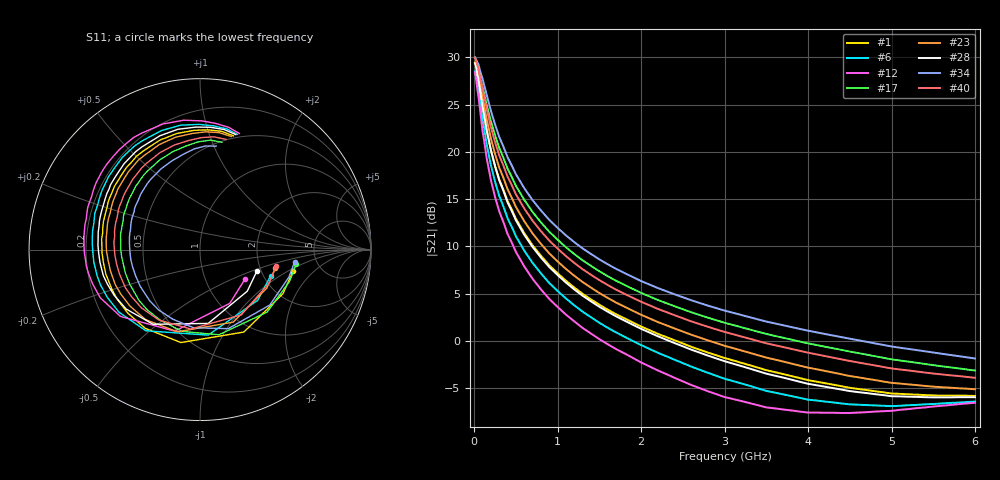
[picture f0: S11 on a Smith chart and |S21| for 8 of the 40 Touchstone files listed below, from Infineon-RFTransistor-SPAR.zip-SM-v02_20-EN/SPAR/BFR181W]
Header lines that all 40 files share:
! Infineon Technologies  Discrete & RF Semiconductors
! BFR181W
! Common Emitter S-Parameters:  Jan 2017
# GHz  S  MA  R  50
!  f  S11  S21  S12  S22
! GHz  MAG  ANG  MAG  ANG  MAG  ANG  MAG  ANG
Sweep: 10 MHz to 6 GHz
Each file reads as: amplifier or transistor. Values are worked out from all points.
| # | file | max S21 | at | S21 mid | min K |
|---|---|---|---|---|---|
| 1 | BFR181W_VCE_1.0V_IC_16mA.s2p | 28.3 dB | 10 MHz | 0.7 dB at 2.2 GHz | 0.42 |
| 2 | BFR181W_VCE_1.0V_IC_17mA.s2p | 28.4 dB | 10 MHz | 0.3 dB at 2.2 GHz | 0.42 |
| 3 | BFR181W_VCE_1.0V_IC_18mA.s2p | 28.5 dB | 10 MHz | -0.1 dB at 2.2 GHz | 0.45 |
| 4 | BFR181W_VCE_1.0V_IC_19mA.s2p | 28.5 dB | 10 MHz | -0.5 dB at 2.2 GHz | 0.48 |
| 5 | BFR181W_VCE_1.0V_IC_20mA.s2p | 28.6 dB | 10 MHz | -0.9 dB at 2.2 GHz | 0.51 |
| 6 | BFR181W_VCE_1.0V_IC_21mA.s2p | 28.5 dB | 10 MHz | -1.3 dB at 2.2 GHz | 0.51 |
| 7 | BFR181W_VCE_1.0V_IC_22mA.s2p | 28.5 dB | 10 MHz | -1.6 dB at 2.2 GHz | 0.56 |
| 8 | BFR181W_VCE_1.0V_IC_23mA.s2p | 28.5 dB | 10 MHz | -1.9 dB at 2.2 GHz | 0.55 |
| 9 | BFR181W_VCE_1.0V_IC_24mA.s2p | 28.5 dB | 10 MHz | -2.3 dB at 2.2 GHz | 0.58 |
| 10 | BFR181W_VCE_1.0V_IC_25mA.s2p | 28.5 dB | 10 MHz | -2.6 dB at 2.2 GHz | 0.60 |
| 11 | BFR181W_VCE_1.0V_IC_26mA.s2p | 28.5 dB | 10 MHz | -2.9 dB at 2.2 GHz | 0.60 |
| 12 | BFR181W_VCE_1.0V_IC_27mA.s2p | 28.4 dB | 10 MHz | -3.1 dB at 2.2 GHz | 0.64 |
| 13 | BFR181W_VCE_1.0V_IC_28mA.s2p | 28.4 dB | 10 MHz | -3.4 dB at 2.2 GHz | 0.66 |
| 14 | BFR181W_VCE_1.0V_IC_29mA.s2p | 28.3 dB | 10 MHz | -3.7 dB at 2.2 GHz | 0.66 |
| 15 | BFR181W_VCE_1.0V_IC_30mA.s2p | 28.3 dB | 10 MHz | -4.0 dB at 2.2 GHz | 0.69 |
| 16 | BFR181W_VCE_2.0V_IC_16mA.s2p | 29.3 dB | 10 MHz | 4.8 dB at 2.2 GHz | 0.29 |
| 17 | BFR181W_VCE_2.0V_IC_17mA.s2p | 29.4 dB | 10 MHz | 4.3 dB at 2.2 GHz | 0.32 |
| 18 | BFR181W_VCE_2.0V_IC_18mA.s2p | 29.5 dB | 10 MHz | 3.9 dB at 2.2 GHz | 0.34 |
| 19 | BFR181W_VCE_2.0V_IC_19mA.s2p | 29.5 dB | 10 MHz | 3.5 dB at 2.2 GHz | 0.37 |
| 20 | BFR181W_VCE_2.0V_IC_20mA.s2p | 29.5 dB | 10 MHz | 3.1 dB at 2.2 GHz | 0.40 |
| 21 | BFR181W_VCE_2.0V_IC_21mA.s2p | 29.5 dB | 10 MHz | 2.7 dB at 2.2 GHz | 0.43 |
| 22 | BFR181W_VCE_2.0V_IC_22mA.s2p | 29.5 dB | 10 MHz | 2.3 dB at 2.2 GHz | 0.43 |
| 23 | BFR181W_VCE_2.0V_IC_23mA.s2p | 29.5 dB | 10 MHz | 2.0 dB at 2.2 GHz | 0.47 |
| 24 | BFR181W_VCE_2.0V_IC_24mA.s2p | 29.4 dB | 10 MHz | 1.7 dB at 2.2 GHz | 0.48 |
| 25 | BFR181W_VCE_2.0V_IC_25mA.s2p | 29.4 dB | 10 MHz | 1.3 dB at 2.2 GHz | 0.51 |
| 26 | BFR181W_VCE_2.0V_IC_26mA.s2p | 29.4 dB | 10 MHz | 1.0 dB at 2.2 GHz | 0.53 |
| 27 | BFR181W_VCE_2.0V_IC_27mA.s2p | 29.4 dB | 10 MHz | 0.7 dB at 2.2 GHz | 0.53 |
| 28 | BFR181W_VCE_2.0V_IC_28mA.s2p | 29.4 dB | 10 MHz | 0.5 dB at 2.2 GHz | 0.59 |
| 29 | BFR181W_VCE_2.0V_IC_29mA.s2p | 29.3 dB | 10 MHz | 0.2 dB at 2.2 GHz | 0.60 |
| 30 | BFR181W_VCE_2.0V_IC_30mA.s2p | 29.3 dB | 10 MHz | -0.1 dB at 2.2 GHz | 0.65 |
| 31 | BFR181W_VCE_3.0V_IC_16mA.s2p | 29.8 dB | 10 MHz | 6.8 dB at 2.2 GHz | 0.11 |
| 32 | BFR181W_VCE_3.0V_IC_17mA.s2p | 29.9 dB | 10 MHz | 6.4 dB at 2.2 GHz | 0.20 |
| 33 | BFR181W_VCE_3.0V_IC_18mA.s2p | 30.0 dB | 10 MHz | 6.0 dB at 2.2 GHz | 0.24 |
| 34 | BFR181W_VCE_3.0V_IC_19mA.s2p | 30.0 dB | 10 MHz | 5.6 dB at 2.2 GHz | 0.29 |
| 35 | BFR181W_VCE_3.0V_IC_20mA.s2p | 30.0 dB | 10 MHz | 5.2 dB at 2.2 GHz | 0.33 |
| 36 | BFR181W_VCE_3.0V_IC_21mA.s2p | 30.0 dB | 10 MHz | 4.8 dB at 2.2 GHz | 0.34 |
| 37 | BFR181W_VCE_3.0V_IC_22mA.s2p | 30.0 dB | 10 MHz | 4.4 dB at 2.2 GHz | 0.34 |
| 38 | BFR181W_VCE_3.0V_IC_23mA.s2p | 30.0 dB | 10 MHz | 4.1 dB at 2.2 GHz | 0.38 |
| 39 | BFR181W_VCE_3.0V_IC_24mA.s2p | 30.0 dB | 10 MHz | 3.7 dB at 2.2 GHz | 0.41 |
| 40 | BFR181W_VCE_3.0V_IC_25mA.s2p | 29.9 dB | 10 MHz | 3.4 dB at 2.2 GHz | 0.41 |

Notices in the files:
Hoja de datos/BFP 450/Infineon-RFTransistor-SPAR.zip-SM-v02_20-EN/SPAR/BFR181W/BFR181W_VCE_1.0V_IC_16mA.s2p:
(c) 2017  Infineon Technologies AG, Munich
